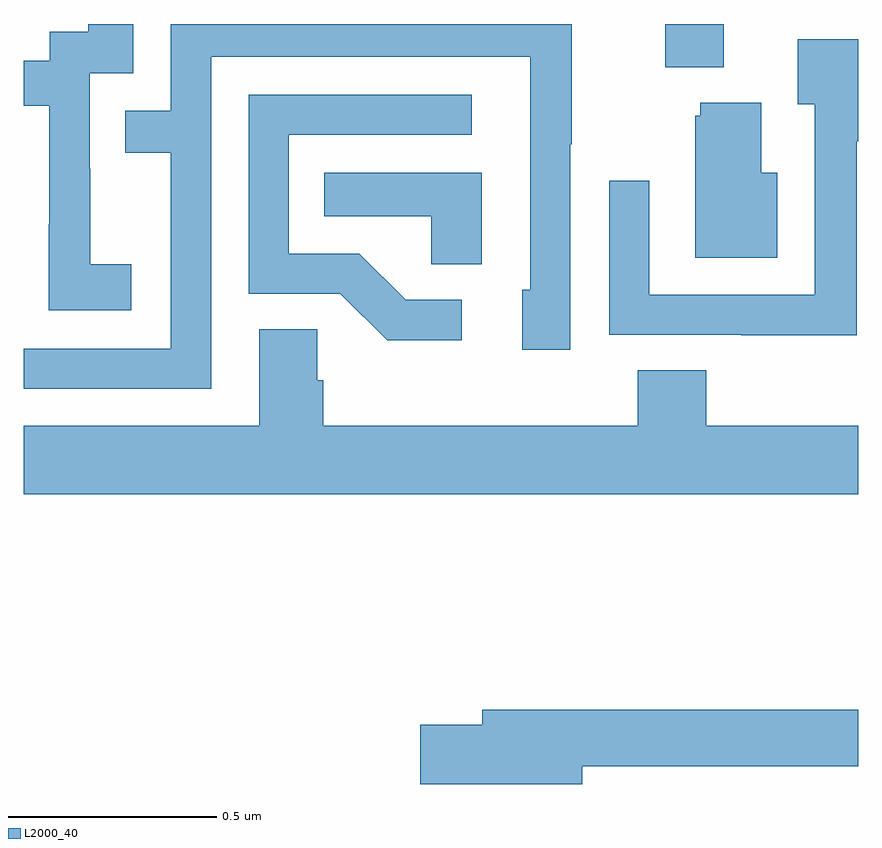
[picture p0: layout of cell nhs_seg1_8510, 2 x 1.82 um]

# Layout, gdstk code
import gdstk
lib = gdstk.Library(unit=1e-6, precision=1e-09)
def R(c, l, rs):  # rectangles x0, y0, x1, y1
    for r in rs: c.add(gdstk.rectangle(r[:2], r[2:], *l))
def P(c, l, *ps):  # polygons
    for p in ps: c.add(gdstk.Polygon(p, *l))
L2000_40 = (2000, 40)

nhs_seg1_8510 = lib.new_cell('nhs_seg1_8510')
R(nhs_seg1_8510, L2000_40, [(218.537,546.095,218.677,546.199)])
P(nhs_seg1_8510, L2000_40, [(217.449,546.12),(218.214,546.12),(218.214,545.562),(218.195,545.562),(218.195,545.418),(218.31,545.418),(218.31,545.911),(218.313,545.911),(218.313,546.199),(217.353,546.199),(217.353,545.991),(217.243,545.991),(217.243,545.89),(217.353,545.89),(217.353,545.421),(217,545.421),(217,545.325),(217.449,545.325)],
  [(217.258,545.623),(217.16,545.623),(217.16,545.852),(217.158,545.852),(217.158,546.081),(217.263,546.081),(217.263,546.199),(217.155,546.199),(217.155,546.18),(217.062,546.18),(217.062,546.111),(217,546.111),(217,546.003),(217.061,546.003),(217.061,545.719),(217.06,545.719),(217.06,545.513),(217.258,545.513)],
  [(218.996,545.918),(219,545.918),(219,546.163),(218.855,546.163),(218.855,546.007),(218.895,546.007),(218.895,545.55),(218.499,545.55),(218.499,545.824),(218.403,545.824),(218.403,545.454),(218.719,545.454),(218.719,545.453),(218.996,545.453)],
  [(218.05,545.538),(217.915,545.538),(217.804,545.649),(217.635,545.649),(217.635,545.934),(218.074,545.934),(218.074,546.03),(217.539,546.03),(217.539,545.553),(217.758,545.553),(217.871,545.441),(218.05,545.441)],
  [(218.806,545.842),(218.767,545.842),(218.767,546.01),(218.621,546.01),(218.621,545.979),(218.609,545.979),(218.609,545.639),(218.806,545.639)],
  [(218.098,545.842),(217.72,545.842),(217.72,545.738),(217.977,545.738),(217.977,545.623),(218.098,545.623)],
  [(217.704,545.345),(217.704,545.468),(217.565,545.468),(217.565,545.236),(217,545.236),(217,545.072),(219,545.072),(219,545.236),(218.636,545.236),(218.636,545.369),(218.471,545.369),(218.471,545.236),(217.718,545.236),(217.718,545.345)],
  [(218.338,544.42),(219,544.42),(219,544.556),(218.099,544.556),(218.099,544.52),(217.95,544.52),(217.95,544.378),(218.338,544.378)])

lib.write_gds('nhs_seg1_8510.gds')
